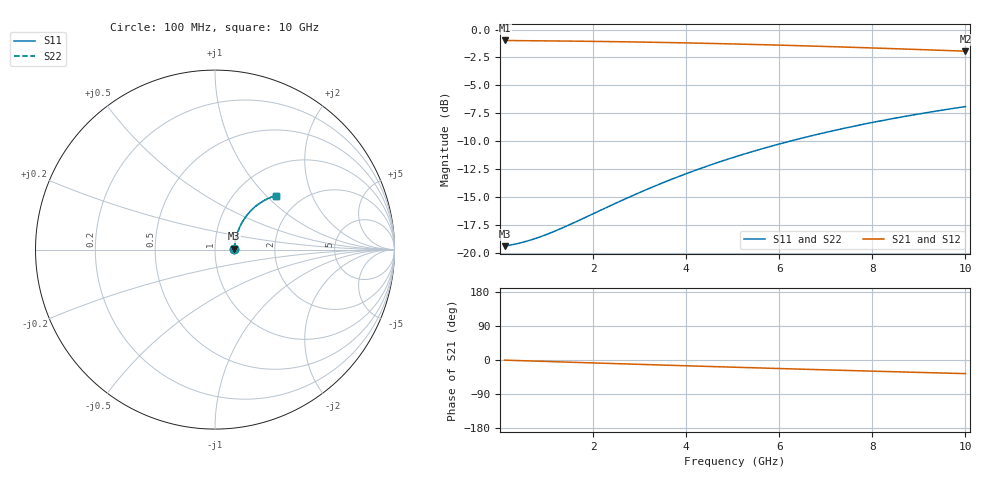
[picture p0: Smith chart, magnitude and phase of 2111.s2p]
# Hz S RI R 50.00
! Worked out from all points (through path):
!   100 points, 100 MHz to 10 GHz, reference 50 ohm
!   highest |S21| = -0.98 dB at 100 MHz (marker M1); lowest = -1.9 dB at 10 GHz (marker M2)
!   group delay of S21, straight-line fit = 10 ps
!   lowest |S11| = -19.4 dB at 100 MHz (marker M3), VSWR 1.24, Z = 62 + j0.548 ohm
!   |S11| at or under -10 dB: start of sweep to 6.238 GHz
!   |S22| runs from -19.4 to -6.9 dB; largest |S21 - S12| = 0
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1e8  0.1069 0.00437  0.8931 -0.00604  0.8931 -0.00604  0.1069 0.00437
3e8  0.1082 0.0131  0.8918 -0.0181  0.8918 -0.0181  0.1082 0.0131
5e8  0.1093 0.0217  0.8906 -0.0301  0.8906 -0.0301  0.1093 0.0217
8e8  0.1112 0.0347  0.8887 -0.048  0.8887 -0.048  0.1112 0.0347
1e9  0.1127 0.0432  0.8872 -0.0599  0.8872 -0.0599  0.1127 0.0432
1.2e9  0.1143 0.0517  0.8855 -0.0717  0.8855 -0.0717  0.1143 0.0517
1.5e9  0.1171 0.0644  0.8826 -0.0894  0.8826 -0.0894  0.1171 0.0644
1.8e9  0.1203 0.0769  0.8792 -0.1069  0.8792 -0.1069  0.1203 0.0769
2.7e9  0.1327 0.1133  0.8662 -0.1583  0.8662 -0.1583  0.1327 0.1133
3.1e9  0.1395 0.1288  0.8591 -0.1806  0.8591 -0.1806  0.1395 0.1288
3.4e9  0.145 0.1402  0.8532 -0.1969  0.8532 -0.1969  0.145 0.1402
3.8e9  0.1531 0.1549  0.8447 -0.2183  0.8447 -0.2183  0.1531 0.1549
4.2e9  0.1618 0.169  0.8355 -0.2392  0.8355 -0.2392  0.1618 0.169
4.6e9  0.1712 0.1826  0.8256 -0.2595  0.8256 -0.2595  0.1712 0.1826
5.1e9  0.1838 0.1987  0.8124 -0.284  0.8124 -0.284  0.1838 0.1987
5.5e9  0.1944 0.2109  0.8011 -0.3029  0.8011 -0.3029  0.1944 0.2109
5.9e9  0.2056 0.2224  0.7892 -0.3212  0.7892 -0.3212  0.2056 0.2224
6.7e9  0.2292 0.2434  0.7641 -0.3557  0.7641 -0.3557  0.2292 0.2434
7.5e9  0.2542 0.2615  0.7374 -0.3875  0.7374 -0.3875  0.2542 0.2615
8.4e9  0.2835 0.2786  0.7059 -0.4199  0.7059 -0.4199  0.2835 0.2786
9.2e9  0.3102 0.2907  0.677 -0.4458  0.677 -0.4458  0.3102 0.2907
1e10  0.3373 0.3002  0.6476 -0.469  0.6476 -0.469  0.3373 0.3002
